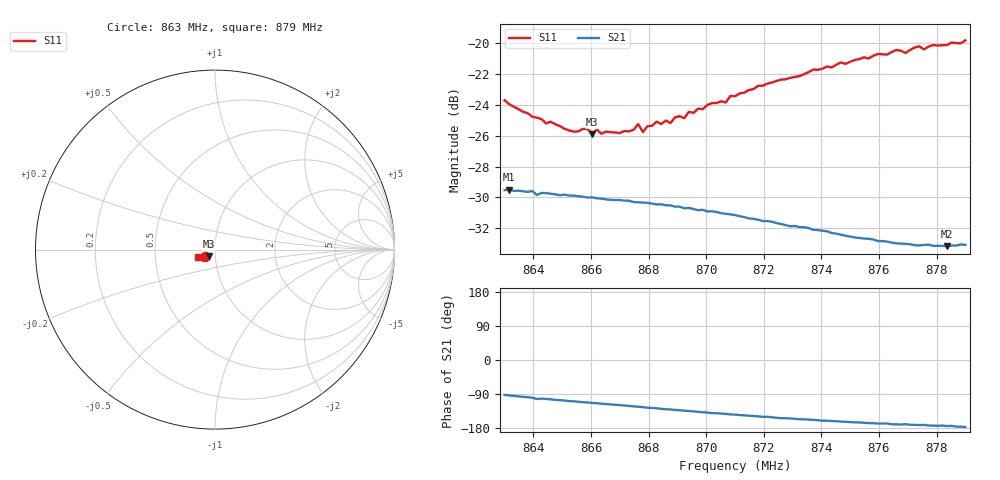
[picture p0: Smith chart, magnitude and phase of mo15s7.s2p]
# HZ S RI R 50
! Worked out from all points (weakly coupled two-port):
!   101 points, 863 MHz to 879 MHz, reference 50 ohm
!   highest |S21| = -29.49 dB at 863.16 MHz (marker M1); lowest = -33.2 dB at 878.36 MHz (marker M2)
!   lowest |S11| = -25.9 dB at 866.04 MHz (marker M3), VSWR 1.11, Z = 46.5 - j3.39 ohm
!   |S11| at or under -10 dB: start of sweep to end of sweep
!   S12 and S22 are empty: the file has one direction only
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8.63e8  -0.0548 -0.0356  -0.00122 -0.0334  0 0  0 0
8.6316e8  -0.053 -0.0349  -0.0021 -0.0335  0 0  0 0
8.6444e8  -0.0443 -0.0326  -0.00716 -0.0319  0 0  0 0
8.646e8  -0.0437 -0.0345  -0.00778 -0.0316  0 0  0 0
8.654e8  -0.0385 -0.0345  -0.0104 -0.0303  0 0  0 0
8.6572e8  -0.0391 -0.0355  -0.0115 -0.0296  0 0  0 0
8.6604e8  -0.0354 -0.0364  -0.0125 -0.0291  0 0  0 0
8.662e8  -0.0371 -0.0373  -0.0128 -0.0287  0 0  0 0
8.6636e8  -0.0357 -0.0363  -0.0134 -0.0283  0 0  0 0
8.6732e8  -0.0325 -0.0403  -0.016 -0.0264  0 0  0 0
8.6764e8  -0.0335 -0.0433  -0.0167 -0.0255  0 0  0 0
8.678e8  -0.0311 -0.0411  -0.0172 -0.0251  0 0  0 0
8.6828e8  -0.032 -0.0456  -0.0182 -0.0238  0 0  0 0
8.6844e8  -0.0308 -0.0452  -0.0189 -0.0234  0 0  0 0
8.6924e8  -0.0311 -0.048  -0.0202 -0.021  0 0  0 0
8.694e8  -0.0328 -0.0502  -0.0205 -0.0208  0 0  0 0
8.7068e8  -0.0351 -0.0538  -0.0221 -0.0171  0 0  0 0
8.71e8  -0.0371 -0.0562  -0.0224 -0.0163  0 0  0 0
8.7372e8  -0.0532 -0.0627  -0.023 -0.00927  0 0  0 0
8.7644e8  -0.0748 -0.0565  -0.0222 -0.0041  0 0  0 0
8.7836e8  -0.0879 -0.0448  -0.0219 -0.00215  0 0  0 0
8.79e8  -0.0941 -0.0399  -0.0221 -0.00117  0 0  0 0
